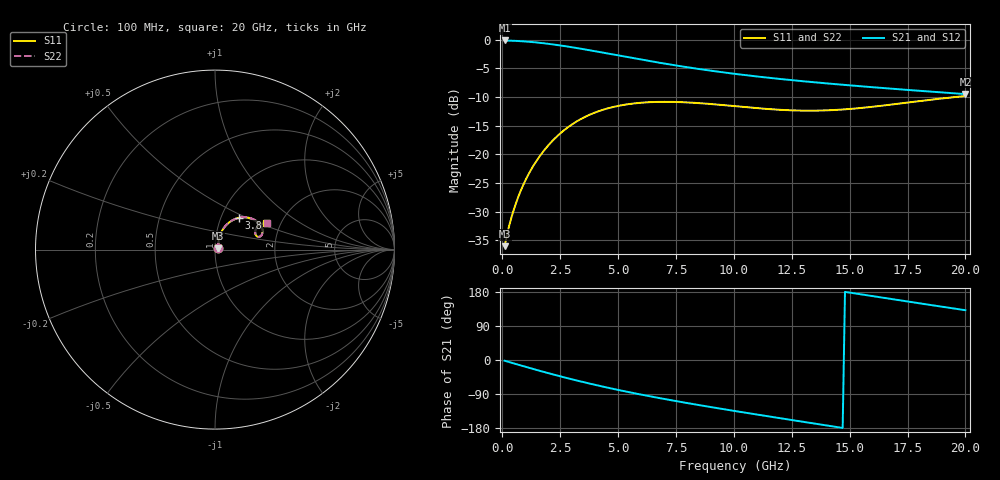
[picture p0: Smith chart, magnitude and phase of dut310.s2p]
! Touchstone file exported from HFSS 2024.1.0
!  File:  C:/UserFiles/LocalFiles/RDL_TSV_Batchsim/temp_RDL_TSV_310_1779627059.aedt
!  Generated:  09:04:31 PM May 24, 2026
!  Design:  RDL_TSV
!  Project:  temp_RDL_TSV_310_1779627059
!  Setup:  Setup1
!  Solution:  Sweep
! Variables:
!  dtsv = 5.92um
!  hbump = 3um
!  htsv = 51.4um
!  ldown = 615.44um
!  lrdl = 473.58um
!  p = 40
!  p1 = 51.37um
!  rhole = 10um
!  subl = 3740.64um
!  t = 450um
!  tdown = 4.27um
!  trdl = 4.27um
!  viad = 10um
!  wdown = 23.15um
!  wrdl = 25.73um
!  xbump = 18um
# GHz S MA R 50.000000
! Terminal data exported
! Port[1] = TM1_1_T1
! Port[2] = TM1_4_T1
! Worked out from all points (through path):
!   200 points, 100 MHz to 20 GHz, reference 50 ohm
!   highest |S21| = -0.13 dB at 100 MHz (marker M1); lowest = -9.5 dB at 20 GHz (marker M2)
!   group delay of S21, straight-line fit = 30.1 ps
!   lowest |S11| = -36.0 dB at 100 MHz (marker M3), VSWR 1.03, Z = 51.5 + j0.677 ohm
!   |S11| at or under -10 dB: start of sweep to 19.54 GHz
!   |S22| runs from -36.0 to -9.8 dB; largest |S21 - S12| = 1.2e-14
!   S11 on the Smith chart (normalised r, x): 100 MHz: 1.03, +0.01; 3.8 GHz: 1.22, +0.46; 20 GHz: 1.69, +0.56
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0.1  0.01586 24.5  0.9854 -1.9  0.9854 -1.9  0.01586 24.5
! Gamma 0 0 0 0
! Port Impedance 50 0 50 0
0.3  0.02403 47.1  0.9824 -5.5  0.9824 -5.5  0.02403 47.1
0.6  0.03804 61.3  0.9766 -10.9  0.9766 -10.9  0.03804 61.3
0.9  0.05391 67.5  0.9687 -16.2  0.9687 -16.2  0.0539 67.5
1.3  0.07708 70.3  0.9544 -23.1  0.9544 -23.1  0.07708 70.3
1.8  0.1081 69.7  0.9312 -31.6  0.9312 -31.6  0.1081 69.7
2.3  0.1398 66.7  0.9036 -39.8  0.9036 -39.8  0.1399 66.7
2.9  0.1764 61.5  0.8667 -49.3  0.8667 -49.3  0.1764 61.6
3.5  0.2089 55.6  0.8276 -58.3  0.8276 -58.3  0.209 55.7
3.8  0.2231 52.6  0.8078 -62.7  0.8078 -62.7  0.2233 52.7
4.4  0.247 46.7  0.7684 -71.0  0.7684 -71.0  0.2473 46.8
5.1  0.2673 40.3  0.7241 -80.2  0.7241 -80.2  0.2676 40.3
5.9  0.2812 33.7  0.677 -90.2  0.677 -90.2  0.2817 33.8
6.8  0.2873 27.6  0.6293 -100.7  0.6293 -100.7  0.2878 27.6
8.4  0.2809 19.9  0.5593 -118.0  0.5593 -118.0  0.2817 19.9
10.1  0.263 16.3  0.5025 -135.2  0.5025 -135.2  0.2638 16.3
11.7  0.247 17.0  0.4615 -150.7  0.4615 -150.7  0.248 16.9
13.4  0.2407 21.0  0.427 -167.0  0.427 -167.0  0.2416 20.8
15  0.249 25.5  0.4002 177.9  0.4002 177.9  0.2496 25.2
16.7  0.2705 28.5  0.3756 161.9  0.3756 161.9  0.2708 28.2
18.4  0.298 29.0  0.354 146.1  0.354 146.1  0.298 28.7
20  0.3231 27.5  0.3359 131.4  0.3359 131.4  0.3228 27.2
